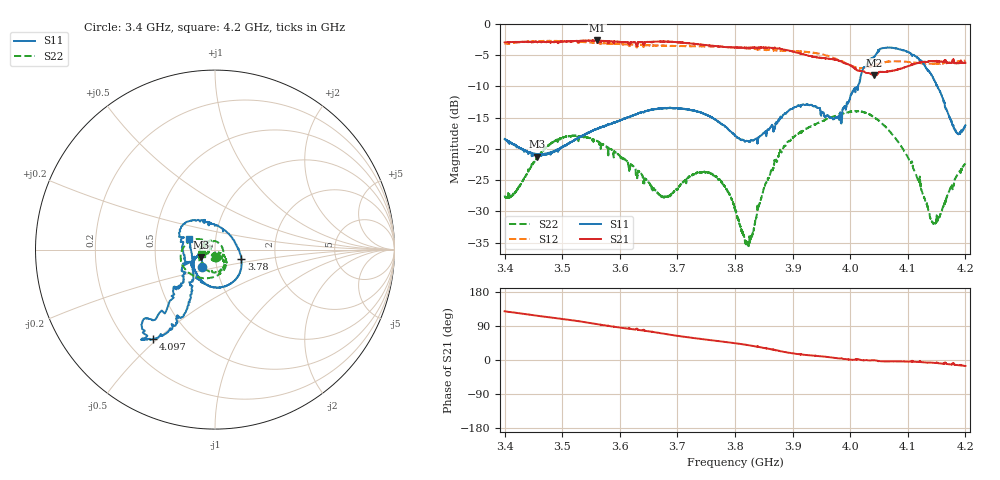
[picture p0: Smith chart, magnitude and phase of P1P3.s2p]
# GHZ S DB R 50.000000000000
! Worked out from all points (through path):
!   4501 points, 3.4 GHz to 4.2 GHz, reference 50 ohm
!   highest |S21| = -2.63 dB at 3.561 GHz (marker M1); lowest = -8.2 dB at 4.042 GHz (marker M2)
!   lowest |S11| = -21.3 dB at 3.457 GHz (marker M3), VSWR 1.19, Z = 42.8 - j3.54 ohm
!   |S11| at or under -10 dB: start of sweep to 4.013 GHz; 4.151 GHz to end of sweep
!   |S22| runs from -35.6 to -13.9 dB; largest |S21 - S12| = 0.1
!   S11 on the Smith chart (normalised r, x): 3.4 GHz: 0.85, -0.16; 3.78 GHz: 1.34, -0.14; 4.097 GHz: 0.31, -0.49; 4.2 GHz: 0.74, +0.09
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3.4  -18.41 -127.4  -2.93 128.5  -3.16 129.5  -27.46 -81.6
3.417778  -19.29 -132.0  -2.87 125.0  -3.00 126.0  -27.00 -62.6
3.456889  -21.25 -151.7  -2.95 116.6  -2.79 117.3  -21.23 -55.9
3.488  -20.31 -158.4  -2.87 110.5  -2.70 109.8  -18.64 -68.6
3.533511  -18.02 -154.2  -2.67 101.2  -2.85 99.2  -17.93 -102.5
3.561067  -16.79 -145.8  -2.63 94.5  -3.00 93.3  -18.71 -129.7
3.666844  -13.55 -92.3  -2.80 71.7  -3.45 72.8  -27.15 72.2
3.685689  -13.41 -82.3  -2.84 67.1  -3.50 69.0  -27.51 17.0
3.7376  -14.11 -50.4  -3.26 56.1  -3.57 59.0  -23.80 -75.7
3.779733  -16.17 -18.8  -3.65 48.3  -3.65 49.9  -25.83 -112.6
3.8  -17.87 2.6  -3.75 44.3  -3.73 45.4  -29.79 -120.3
3.823822  -18.78 41.4  -3.80 39.0  -3.93 40.2  -35.57 -74.0
3.851556  -17.30 86.0  -3.78 31.5  -4.13 34.3  -25.97 -32.2
3.877867  -15.11 109.5  -3.89 23.5  -4.17 29.2  -20.19 -48.2
3.933511  -12.99 151.3  -5.16 11.8  -4.54 15.6  -16.28 -93.2
3.982044  -14.55 -155.1  -5.93 3.9  -5.84 3.5  -14.48 -130.9
4.041956  -5.22 -135.5  -8.17 -0.7  -6.61 5.9  -14.95 177.9
4.066844  -3.76 -129.2  -7.58 -3.9  -6.01 1.7  -17.01 158.5
4.097067  -4.37 -124.5  -6.85 -4.1  -6.04 -5.3  -20.85 141.8
4.145067  -8.86 -115.2  -5.95 -7.4  -6.36 -12.0  -32.00 169.8
4.183644  -17.30 -157.1  -6.28 -13.0  -6.07 -17.4  -24.51 -153.6
4.2  -16.23 158.6  -6.20 -15.7  -5.85 -20.7  -22.32 -161.0
